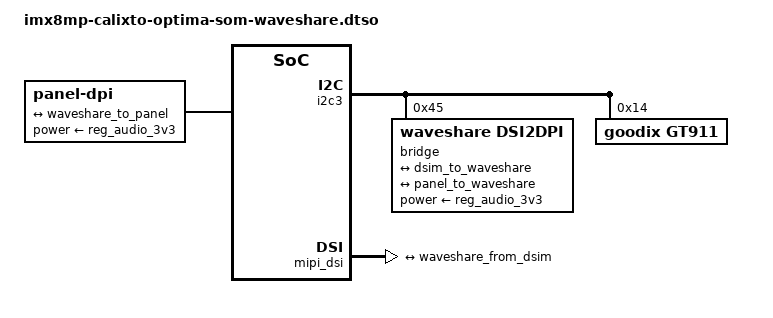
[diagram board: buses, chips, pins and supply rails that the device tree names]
// SPDX-License-Identifier: (GPL-2.0+ OR MIT)
/*
 * Overlay: Waveshare DSI-to-DPI bridge (waveshare,dsi2dpi) + panel-dpi +
 * GT911 touch. Base dts must have &i2c3, &mipi_dsi, &ldb, &ldb_phy labels.
 */
/dts-v1/;
/plugin/;

#include "imx8mp-pinfunc.h"

/ {
	fragment@0 {
		target = <&i2c3>;
		__overlay__ {
			#address-cells = <1>;
			#size-cells = <0>;

			bridge@45 {
				compatible = "waveshare,dsi2dpi";
				reg = <0x45>;
				power-supply = <&reg_audio_3v3>;

				ports {
					#address-cells = <1>;
					#size-cells = <0>;

					port@0 {
						reg = <0>;

						waveshare_from_dsim: endpoint {
							data-lanes = <1 2>;
							remote-endpoint = <&dsim_to_waveshare>;
						};
					};

					port@1 {
						reg = <1>;

						waveshare_to_panel: endpoint {
							remote-endpoint = <&panel_to_waveshare>;
						};
					};
				};
			};

			gt911: gt911@14 {
				compatible = "goodix,gt911";
				reg = <0x14>;
				touchscreen-size-x = <890>;
				touchscreen-size-y = <480>;
				touchscreen-swapped-x-y;
				touchscreen-inverted-x;
			};
		};
	};

	/* panel-dpi is board-level, not under any bus - attach to root */
	fragment@1 {
		target-path = "/";
		__overlay__ {
			panel {
				compatible = "panel-dpi";
				power-supply = <&reg_audio_3v3>;
				status = "okay";

				width-mm = <154>;
				height-mm = <86>;

				port {
					panel_to_waveshare: endpoint {
						remote-endpoint = <&waveshare_to_panel>;
					};
				};

				panel-timing {
					clock-frequency = <30850000>;
					hactive = <480>;
					vactive = <890>;
					hback-porch = <40>;
					hfront-porch = <40>;
					hsync-len = <10>;
					vback-porch = <13>;
					vfront-porch = <3>;
					vsync-len = <3>;
					de-active = <1>;
					pixelclk-active = <0>;
				};
			};
		};
	};

	fragment@2 {
		target = <&ldb>;
		__overlay__ {
			status = "disabled";
		};
	};

	fragment@3 {
		target = <&ldb_phy>;
		__overlay__ {
			status = "disabled";
		};
	};

	fragment@4 {
		target = <&mipi_dsi>;
		__overlay__ {
			status = "okay";
			#address-cells = <1>;
			#size-cells = <0>;

			port@1 {
				reg = <1>;
				dsim_to_waveshare: endpoint {
					remote-endpoint = <&waveshare_from_dsim>;
					attach-bridge;
					data-lanes = <1 2>;
				};
			};
		};
	};
};
